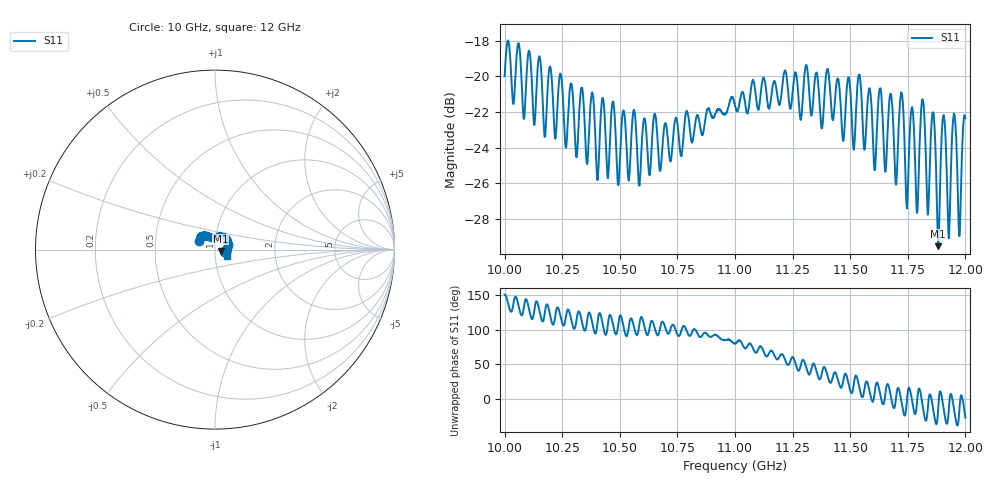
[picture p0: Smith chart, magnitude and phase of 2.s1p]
[Version] 2.0
! Rohde & Schwarz Vector Network Analyzer
! Rohde-Schwarz,ZNL20-2Port,1323001220200009,1.71.1.10-23.02.1.238
! Port Assignments:
! Nominal Port -> Actual Test Port
!  1 -> 1
! Created: GMT 2024-09-04 11:58:18
# Hz S DB R 50
[Number of Ports] 1
! freq[Hz]  S11[mag dB]  S11[ang]
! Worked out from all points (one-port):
!   2001 points, 10 GHz to 12 GHz, reference 50 ohm
!   lowest |S11| = -29.5 dB at 11.88 GHz (marker M1), VSWR 1.07, Z = 53.3 - j0.856 ohm
!   |S11| at or under -10 dB: start of sweep to end of sweep
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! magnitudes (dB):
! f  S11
! 10 GHz  -20.0
! 10.25 GHz  -20.6
! 10.4 GHz  -25.8
! 10.47 GHz  -21.4
! 10.5 GHz  -24.8
! 10.75 GHz  -22.6
! 11 GHz  -21.7
! 11.25 GHz  -20.9
! 11.5 GHz  -20.7
! 11.59 GHz  -20.7
! 11.61 GHz  -25.3
! 11.63 GHz  -20.7
! 11.65 GHz  -25.4
! 11.68 GHz  -21.0
! 11.7 GHz  -26.1
! 11.72 GHz  -21.0
! 11.75 GHz  -26.5
! 11.77 GHz  -21.7
! 11.79 GHz  -27.5
! 11.81 GHz  -21.3
! 11.84 GHz  -27.8
! 11.86 GHz  -22.1
! 11.88 GHz  -29.5
! 11.9 GHz  -22.2
! 11.93 GHz  -29.1
! 11.95 GHz  -22.2
! 11.97 GHz  -29.0
! 12 GHz  -22.4
